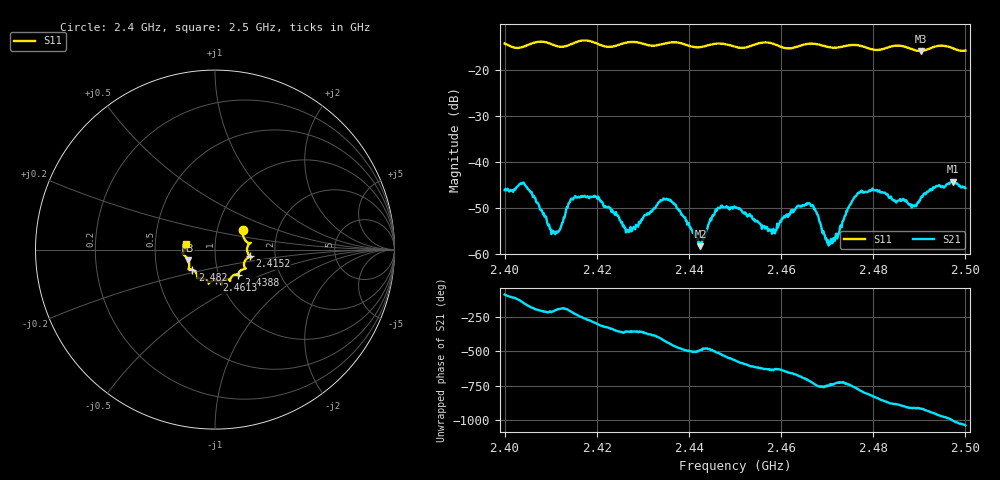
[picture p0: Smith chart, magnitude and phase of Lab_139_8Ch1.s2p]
# Hz S RI R 50
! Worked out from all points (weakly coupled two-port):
!   601 points, 2.4 GHz to 2.5 GHz, reference 50 ohm
!   highest |S21| = -44.31 dB at 2.4973 GHz (marker M1); lowest = -58.4 dB at 2.4425 GHz (marker M2)
!   lowest |S11| = -15.9 dB at 2.4903 GHz (marker M3), VSWR 1.38, Z = 36.8 - j4.46 ohm
!   |S11| at or under -10 dB: start of sweep to end of sweep
!   S12 and S22 are empty: the file has one direction only
!   S11 on the Smith chart (normalised r, x): 2.4 GHz: 1.33, +0.31; 2.4152 GHz: 1.48, -0.12; 2.4388 GHz: 1.24, -0.36; 2.4613 GHz: 0.96, -0.34; 2.482 GHz: 0.76, -0.17; 2.5 GHz: 0.72, +0.05
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2.4e9  0.1579 0.1118  0.000228 -0.00494  0 0  0 0
2.404333e9  0.1751 0.0443  -0.00508 -0.00258  0 0  0 0
2.410667e9  0.1848 0.0241  -0.00147 0.000806  0 0  0 0
2.415167e9  0.1937 -0.0377  -0.00292 0.00295  0 0  0 0
2.416667e9  0.2035 -0.044  -0.00138 0.00403  0 0  0 0
2.420167e9  0.1876 -0.0432  0.00212 0.00335  0 0  0 0
2.426667e9  0.1698 -0.1042  0.00175 0.00015  0 0  0 0
2.433333e9  0.1324 -0.1314  0.00289 -0.00214  0 0  0 0
2.438833e9  0.1297 -0.1407  -0.00151 -0.00206  0 0  0 0
2.4425e9  0.0947 -0.1493  -0.000769 -0.000932  0 0  0 0
2.446167e9  0.0842 -0.1743  -0.00264 -0.00154  0 0  0 0
2.45e9  0.0688 -0.1649  -0.00291 0.00132  0 0  0 0
2.458167e9  0.0373 -0.1899  5.78e-05 0.00169  0 0  0 0
2.461333e9  0.0078 -0.1713  0.000804 0.00255  0 0  0 0
2.466667e9  -0.0349 -0.19  0.00334 -0.000249  0 0  0 0
2.470667e9  -0.0502 -0.1685  0.00122 -0.00037  0 0  0 0
2.4765e9  -0.0961 -0.1591  0.00281 -0.00345  0 0  0 0
2.482e9  -0.1257 -0.1117  -0.00331 -0.00329  0 0  0 0
2.483333e9  -0.1394 -0.1088  -0.00364 -0.00198  0 0  0 0
2.490333e9  -0.1492 -0.0591  -0.00393 0.00118  0 0  0 0
2.497333e9  -0.1713 -0.00792  0.00128 0.00595  0 0  0 0
2.5e9  -0.159 0.0325  0.00379 0.00354  0 0  0 0
